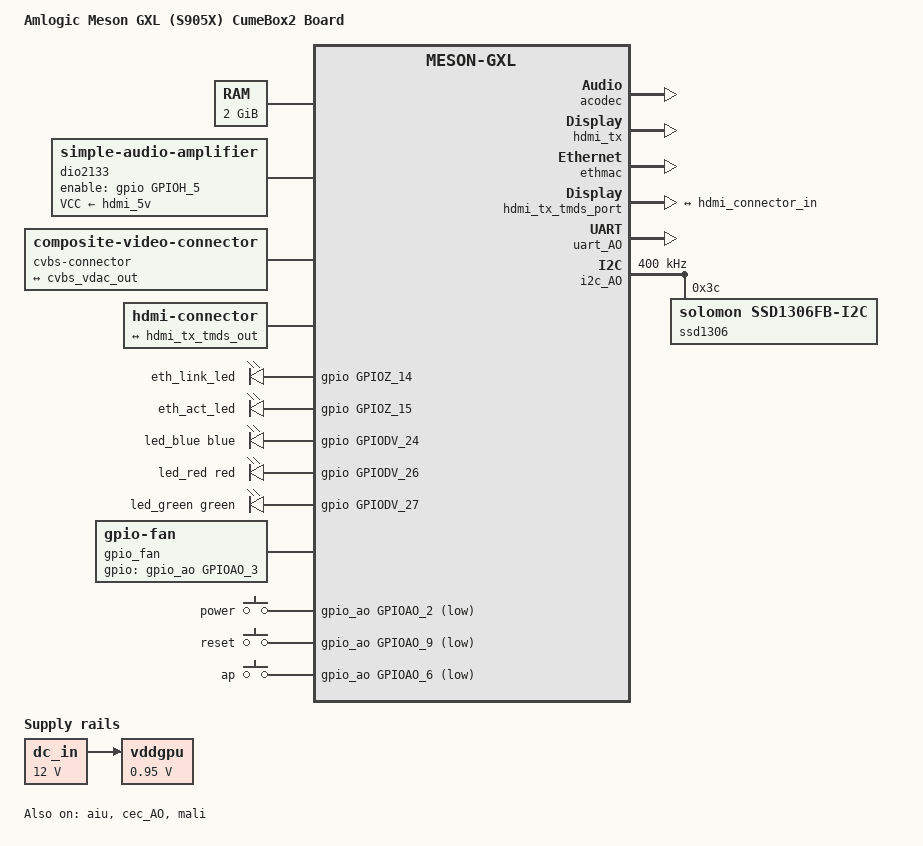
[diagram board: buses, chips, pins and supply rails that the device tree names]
// SPDX-License-Identifier: (GPL-2.0+ OR MIT)
/*
 * Copyright (c) 2016 Endless Computers, Inc.
 * Author: Carlo Caione <carlo@endlessm.com>
 */

/dts-v1/;

#include "meson-gxl-s905x-p212.dtsi"
#include <dt-bindings/leds/common.h>
#include <dt-bindings/input/input.h>
#include <dt-bindings/sound/meson-aiu.h>

/delete-node/ &{/reserved-memory/linux,cma};

/ {
	compatible = "amlogic,p212", "amlogic,s905x", "amlogic,meson-gxl";
	model = "Amlogic Meson GXL (S905X) CumeBox2 Board";

	memory@0 {
		device_type = "memory";
		reg = <0x0 0x0 0x0 0x80000000>;// 2G
	};

	reserved-memory {
	    #address-cells = <2>;
	    #size-cells = <2>;
	    ranges;
	
	    linux,cma {
	        compatible = "shared-dma-pool";
	        reg = <0x0 0x23000000 0x0 0x1000000>; // 16MB
	        reusable;
	        linux,cma-default;
	    };
	};

	dio2133: analog-amplifier {
		compatible = "simple-audio-amplifier";
		sound-name-prefix = "AU2";
		VCC-supply = <&hdmi_5v>;
		enable-gpios = <&gpio GPIOH_5 GPIO_ACTIVE_HIGH>;
	};

	cvbs-connector {
		compatible = "composite-video-connector";
		port {
			cvbs_connector_in: endpoint {
				remote-endpoint = <&cvbs_vdac_out>;
			};
		};
	};

	hdmi-connector {
		compatible = "hdmi-connector";
		type = "a";
		port {
			hdmi_connector_in: endpoint {
				remote-endpoint = <&hdmi_tx_tmds_out>;
			};
		};
	};

	sound {
		compatible = "amlogic,gx-sound-card";
		model = "S905X-P212";
		audio-aux-devs = <&dio2133>;
		audio-widgets = "Line", "Lineout";
		audio-routing = "AU2 INL", "ACODEC LOLN",
				"AU2 INR", "ACODEC LORN",
				"Lineout", "AU2 OUTL",
				"Lineout", "AU2 OUTR";
		assigned-clocks = <&clkc CLKID_MPLL0>,
				  <&clkc CLKID_MPLL1>,
				  <&clkc CLKID_MPLL2>;
		assigned-clock-parents = <0>, <0>, <0>;
		assigned-clock-rates = <294912000>,
				       <270950400>,
				       <393216000>;
		status = "okay";

		dai-link-0 {
			sound-dai = <&aiu AIU_CPU CPU_I2S_FIFO>;
		};

		dai-link-1 {
			sound-dai = <&aiu AIU_CPU CPU_I2S_ENCODER>;
			dai-format = "i2s";
			mclk-fs = <256>;

			codec-0 {
				sound-dai = <&aiu AIU_HDMI CTRL_I2S>;
			};

			codec-1 {
				sound-dai = <&aiu AIU_ACODEC CTRL_I2S>;
			};
		};

		dai-link-2 {
			sound-dai = <&aiu AIU_HDMI CTRL_OUT>;
			codec-0 {
				sound-dai = <&hdmi_tx>;
			};
		};

		dai-link-3 {
			sound-dai = <&aiu AIU_ACODEC CTRL_OUT>;
			codec-0 {
				sound-dai = <&acodec>;
			};
		};
	};

	leds {
	    compatible = "gpio-leds";
        pinctrl-0 = <&eth_link_led_pins>, <&eth_act_led_pins>,  // 复用现有网口灯引脚组
                <&led_blue_pins>, <&led_red_pins>, <&led_green_pins>;  // 补充其他LED引脚组
	    pinctrl-names = "default";

	    /* 网口指示灯 */
	    eth_link_led: eth_link_led {
	        label = "eth_link_led";
	        gpios = <&gpio GPIOZ_14 GPIO_ACTIVE_HIGH>;  // 硬件引脚：GPIOZ_14
	        linux,default-trigger = "netdev";           // 触发方式：跟随网口状态
	        netdev-name = "eth0";                       // 关联网口：eth0
	        netdev-mode = "link";                       // 触发条件：链路建立时点亮
	    };
	
	    eth_act_led: eth_act_led {
	        label = "eth_act_led";
	        gpios = <&gpio GPIOZ_15 GPIO_ACTIVE_HIGH>;  // 硬件引脚：GPIOZ_15
	        linux,default-trigger = "netdev";
	        netdev-name = "eth0";
	        netdev-mode = "tx rx";                      // 触发条件：收发数据时闪烁
	    };
	
	    /* 系统状态指示灯 */
	    led_blue: led_blue {
	        label = "led_blue";
	        color = <LED_COLOR_ID_BLUE>;
	        gpios = <&gpio GPIODV_24 GPIO_ACTIVE_HIGH>; // 硬件引脚：GPIODV_24（全局编号474）
	        default-state = "off";                      // 初始状态：关闭
	        linux,default-trigger = "default-on";       // 触发方式：默认常亮
	    };
	
	    led_red: led_red {
	        label = "led_red";
	        color = <LED_COLOR_ID_RED>;
	        function = LED_FUNCTION_POWER;              // 功能标识：电源指示灯
	        gpios = <&gpio GPIODV_26 GPIO_ACTIVE_HIGH>; // 硬件引脚：GPIODV_26（全局编号476）
	        default-state = "off";
	        panic-indicator;                            // 特性：系统崩溃时点亮
	    };
	
	    led_green: led_green {
	        label = "led_green";
	        color = <LED_COLOR_ID_GREEN>;
	        gpios = <&gpio GPIODV_27 GPIO_ACTIVE_HIGH>; // 硬件引脚：GPIODV_27（全局编号477）
	        default-state = "off";
	        //linux,default-trigger = "heartbeat";
	    };
    };

	thermal-zones {
		cpu-thermal {
			polling-delay-passive = <250>; /* milliseconds */
			polling-delay = <1000>; /* milliseconds */		
			thermal-sensors = <&scpi_sensors 0>;

			trips {
				cpu_active: cpu-active {
					temperature = <45000>; /* millicelsius */
					hysteresis = <2000>; /* millicelsius */
					type = "active";
				};

				cpu_passive: cpu-passive {
					temperature = <90000>; /* millicelsius */
					hysteresis = <2000>; /* millicelsius */
					type = "passive";
				};

				cpu_critical: cpu-critical {
					temperature = <100000>; /* millicelsius */
					hysteresis = <2000>; /* millicelsius */
					type = "critical";
				};
			};

			cooling-maps {
				map0 {
					trip = <&cpu_active>;
					cooling-device = <&gpio_fan THERMAL_NO_LIMIT 1>;
				};

				map1 {
					trip = <&cpu_passive>;
					cooling-device = <&gpio_fan THERMAL_NO_LIMIT 1>;
				};

				map2 {
					trip = <&cpu_critical>;
					cooling-device = <&gpio_fan THERMAL_NO_LIMIT 1>,
				              <&cpu0 THERMAL_NO_LIMIT THERMAL_NO_LIMIT>,
				              <&cpu1 THERMAL_NO_LIMIT THERMAL_NO_LIMIT>,
				              <&cpu2 THERMAL_NO_LIMIT THERMAL_NO_LIMIT>,
				              <&cpu3 THERMAL_NO_LIMIT THERMAL_NO_LIMIT>;
				};
			};
		};
	};

	gpio_fan:gpio-fan {
		#cooling-cells = <2>;
		compatible = "gpio-fan";
		status = "okay";
		gpio-fan,speed-map = <0 0 4500 1>;
		gpios = <&gpio_ao GPIOAO_3 GPIO_ACTIVE_HIGH>; //3 gpio 504
	};

	gpio-keys-polled {
		compatible = "gpio-keys-polled";
		poll-interval = <100>;

		power-button {
			label = "power";
			linux,code = <KEY_POWER>;
			gpios = <&gpio_ao GPIOAO_2 GPIO_ACTIVE_LOW>;//2 gpio 503
		};

		reset-button {
			label = "reset";
			linux,code = <KEY_FN_F1>;
			gpios = <&gpio_ao GPIOAO_9 GPIO_ACTIVE_LOW>;//9 gpio 510
		};

		ap-button {
			label = "ap";
			linux,code = <KEY_FN_F2>;
			gpios = <&gpio_ao GPIOAO_6 GPIO_ACTIVE_LOW>;  //6 gpio 507
		};
	};

	dc_in: regulator-vcc_12v {
		compatible = "regulator-fixed";
		regulator-name = "VCC_12V";
		regulator-min-microvolt = <12000000>;
		regulator-max-microvolt = <12000000>;
		regulator-boot-on;
		regulator-always-on;
	};

	vddgpu: regulator-vddgpu {
		compatible = "regulator-fixed";
		regulator-name = "mali";
		regulator-min-microvolt = <950000>;
		regulator-max-microvolt = <950000>;
		vin-supply = <&dc_in>;
		regulator-boot-on;
		regulator-always-on;
	};

	openvfd {
		compatible = "open,vfd";
		dev_name = "openvfd";
		status = "okay";
	};
};

/* 仅补充其他LED的引脚组（网口灯引脚组已在别处定义，无需重复） */
&pinctrl {
    // 系统指示灯引脚配置（新增，避免与现有网口灯配置冲突）
    led_blue_pins: led_blue_pins {
        mux {
            groups = "gpio_dv24";  // 对应GPIODV_24
            function = "gpio";     // 复用为GPIO功能
        };
        conf {
            groups = "gpio_dv24";
            bias-disable;          // 禁用上下拉
            drive-strength = <2>;  // 驱动强度2mA
        };
    };

    led_red_pins: led_red_pins {
        mux {
            groups = "gpio_dv26";  // 对应GPIODV_26
            function = "gpio";
        };
        conf {
            groups = "gpio_dv26";
            bias-disable;
            drive-strength = <2>;
        };
    };

    led_green_pins: led_green_pins {
        mux {
            groups = "gpio_dv27";  // 对应GPIODV_27
            function = "gpio";
        };
        conf {
            groups = "gpio_dv27";
            bias-disable;
            drive-strength = <2>;
        };
    };
};

&acodec {
	AVDD-supply = <&vddio_ao18>;
	status = "okay";
};

&aiu {
	status = "okay";
};

&cec_AO {
	status = "okay";
	pinctrl-0 = <&ao_cec_pins>;
	pinctrl-names = "default";
	hdmi-phandle = <&hdmi_tx>;
};

&cvbs_vdac_port {
	cvbs_vdac_out: endpoint {
		remote-endpoint = <&cvbs_connector_in>;
	};
};

&hdmi_tx {
	status = "okay";
	pinctrl-0 = <&hdmi_hpd_pins>, <&hdmi_i2c_pins>;
	pinctrl-names = "default";
	hdmi-supply = <&hdmi_5v>;
};

&ethmac {
    status = "okay";
};

&hdmi_tx_tmds_port {
	hdmi_tx_tmds_out: endpoint {
		remote-endpoint = <&hdmi_connector_in>;
	};
};

/* This UART is brought out to the DB9 connector */
&uart_AO {
	status = "okay";
};

// enable I2C
&i2c_AO {
	status = "okay";
	pinctrl-0 = <&i2c_ao_pins>; //GPIOAO4,GPIOAO5
	pinctrl-names = "default";
	clock-frequency = < 400000 >;

	ssd1306: oled@3c {
        status = "okay";
		compatible = "solomon,ssd1306fb-i2c";
		reg = < 0x3c >;
		solomon,width = < 128 >;
		solomon,height = < 64 >;
		solomon,page-offset = < 0 >;
		solomon,com-invdir;
	};
};

&mali {
    mali-supply=<&vddgpu>;
	status = "okay";
};





